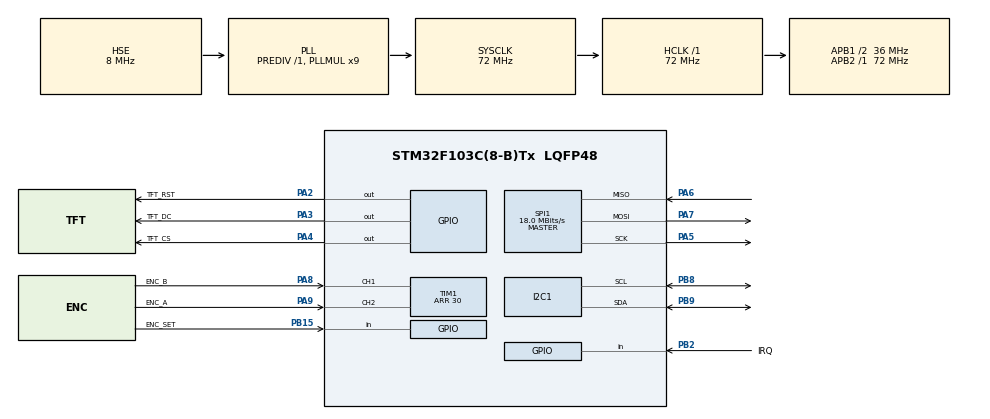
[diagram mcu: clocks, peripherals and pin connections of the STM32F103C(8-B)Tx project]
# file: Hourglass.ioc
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Mcu.Family=STM32F1
Mcu.Name=STM32F103C(8-B)Tx
Mcu.Package=LQFP48
NVIC.PriorityGroup=NVIC_PRIORITYGROUP_4
PA13.Mode=Serial_Wire
PA13.Signal=SYS_JTMS-SWDIO
PA14.Mode=Serial_Wire
PA14.Signal=SYS_JTCK-SWCLK
PA2.GPIO_Label=TFT_RST
PA2.GPIO_Speed=GPIO_SPEED_FREQ_HIGH
PA2.PinState=GPIO_PIN_SET
PA2.Signal=GPIO_Output
PA3.GPIO_Label=TFT_DC
PA3.GPIO_Speed=GPIO_SPEED_FREQ_HIGH
PA3.PinState=GPIO_PIN_SET
PA3.Signal=GPIO_Output
PA4.GPIO_Label=TFT_CS
PA4.GPIO_Speed=GPIO_SPEED_FREQ_HIGH
PA4.PinState=GPIO_PIN_SET
PA4.Signal=GPIO_Output
PA5.Mode=Full_Duplex_Master
PA5.Signal=SPI1_SCK
PA6.Mode=Full_Duplex_Master
PA6.Signal=SPI1_MISO
PA7.Mode=Full_Duplex_Master
PA7.Signal=SPI1_MOSI
PA8.GPIO_Label=ENC_B
PA8.GPIO_PuPd=GPIO_PULLUP
PA8.Signal=S_TIM1_CH1
PA9.GPIO_Label=ENC_A
PA9.GPIO_PuPd=GPIO_PULLUP
PA9.Signal=S_TIM1_CH2
PB15.GPIO_Label=ENC_SET
PB15.GPIO_PuPd=GPIO_PULLUP
PB15.Signal=GPIO_Input
PB2.GPIO_Label=IRQ
PB2.Signal=GPIO_Input
PB8.GPIO_Pu=GPIO_PULLUP
PB8.GPIO_Speed=GPIO_SPEED_FREQ_HIGH
PB8.Mode=I2C
PB8.Signal=I2C1_SCL
PB9.GPIO_Pu=GPIO_PULLUP
PB9.Mode=I2C
PB9.Signal=I2C1_SDA
PD0-OSC_IN.Mode=HSE-External-Oscillator
PD0-OSC_IN.Signal=RCC_OSC_IN
PD1-OSC_OUT.Mode=HSE-External-Oscillator
PD1-OSC_OUT.Signal=RCC_OSC_OUT
ProjectManager.HeapSize=0x400
ProjectManager.StackSize=0x800
ProjectManager.TargetToolchain=STM32CubeIDE
RCC.ADCPresc=RCC_ADCPCLK2_DIV6
RCC.AHBFreq_Value=72000000
RCC.APB1CLKDivider=RCC_HCLK_DIV2
RCC.APB1Freq_Value=36000000
RCC.APB1TimFreq_Value=72000000
RCC.APB2Freq_Value=72000000
RCC.APB2TimFreq_Value=72000000
RCC.HCLKFreq_Value=72000000
RCC.PLLMUL=RCC_PLL_MUL9
RCC.PLLSourceVirtual=RCC_PLLSOURCE_HSE
RCC.SYSCLKFreq_VALUE=72000000
RCC.SYSCLKSource=RCC_SYSCLKSOURCE_PLLCLK
RCC.USBFreq_Value=72000000
SH.S_TIM1_CH1.0=TIM1_CH1,Encoder_Interface
SH.S_TIM1_CH2.0=TIM1_CH2,Encoder_Interface
SPI1.BaudRatePrescaler=SPI_BAUDRATEPRESCALER_4
SPI1.CalculateBaudRate=18.0 MBits/s
SPI1.Direction=SPI_DIRECTION_2LINES
SPI1.Mode=SPI_MODE_MASTER
SPI1.VirtualType=VM_MASTER
TIM1.EncoderMode=TIM_ENCODERMODE_TI12
TIM1.Period=30
board=custom

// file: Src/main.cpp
/* USER CODE BEGIN Header */
/**
  ******************************************************************************
  * @file           : main.c
  * @brief          : Main program body
  ******************************************************************************
  * @attention
  *
  * <h2><center>&copy; Copyright (c) 2020 STMicroelectronics.
  * All rights reserved.</center></h2>
  *
  * This software component is licensed by ST under BSD 3-Clause license,
  * the "License"; You may not use this file except in compliance with the
  * License. You may obtain a copy of the License at:
  *                        opensource.org/licenses/BSD-3-Clause
  *
  ******************************************************************************
  */
/* USER CODE END Header */
#include "main.h"

/* USER CODE BEGIN Includes */
#include <stm32f1xx.h>
#include <ILI9341.h>
#include <loadingAnimation.h>
#include "stdio.h"
#include "Menu.h"
#include "HourglassColorSettings.h"
#include "hourglass.h"
//#include "MadgwickAHRS.h"
/* USER CODE END Includes */

I2C_HandleTypeDef hi2c1;
SPI_HandleTypeDef hspi1;
TIM_HandleTypeDef htim1;

/* USER CODE BEGIN PV */
#include "mpu6050.h"
const float PI=3.14159265358979;
extern float mpu6050_gf[3];
extern float mpu6050_af[3];
uint8_t data[5];
float Yaw_m,Pitch_m,Roll_m;

/* USER CODE END PV */

void SystemClock_Config(void);
static void MX_GPIO_Init(void);
static void MX_SPI1_Init(void);
static void MX_TIM1_Init(void);
static void MX_I2C1_Init(void);

int main(void)
{

  /* MCU Configuration--------------------------------------------------------*/

  /* Reset of all peripherals, Initializes the Flash interface and the Systick. */
  HAL_Init();

  /* Configure the system clock */
  SystemClock_Config();

  /* Initialize all configured peripherals */
  MX_GPIO_Init();
  MX_SPI1_Init();
  MX_TIM1_Init();
  MX_I2C1_Init();

  /* USER CODE BEGIN 2 */
  HAL_TIM_Encoder_Start(&htim1, TIM_CHANNEL_ALL);
  __HAL_SPI_ENABLE(DISP_SPI_PTR);
  DISP_CS_UNSELECT;

  ///--- Инициализация дисплея ---///
  ILI9341_Init(); // инициализация дисплея
  ILI9341_Fill_Screen(BCKGRND_COLOR); // заливка всего экрана цветом (цвета в файле ILI9341.h)

  ///--- Инициализация датчика mpu6050 ---///
  mpu6050_init(); // инициализация mpu6050
  HAL_Delay(100); // обязательно нужна для нормальной инициализации

  ///--- Получение данных с mpu6050 ---///
  mpu6050_getacceldata();

  ///--- Зазгрузочная анимация ---///
  LoadingAnimation loading_animation = LoadingAnimation(mpu6050_af[0]);
  loading_animation.animation();

  ///--- Инициализация меню ---///
  Menu menu = Menu(mpu6050_af[0]); // аргумент для отрисовки часов с учетом данных mpu6050

  /* USER CODE END 2 */

  /* Infinite loop */
  /* USER CODE BEGIN WHILE */
while (1)
{
	mpu6050_getacceldata();
	uint32_t ms = HAL_GetTick();
	// Установка кнопки
	uint8_t Set_state = HAL_GPIO_ReadPin(ENC_SET_GPIO_Port, ENC_SET_Pin); // Читаем состояние нужного пина
	int32_t currCounter = __HAL_TIM_GET_COUNTER(&htim1)/2;
	menu.processing(Set_state, ms,  mpu6050_af[0],  mpu6050_af[1], currCounter);
}
	/* USER CODE END WHILE */

}

void SystemClock_Config(void)
{
  RCC_OscInitTypeDef RCC_OscInitStruct = {0};
  RCC_ClkInitTypeDef RCC_ClkInitStruct = {0};

  /** Initializes the RCC Oscillators according to the specified parameters
  * in the RCC_OscInitTypeDef structure.
  */
  RCC_OscInitStruct.OscillatorType = RCC_OSCILLATORTYPE_HSE;
  RCC_OscInitStruct.HSEState = RCC_HSE_ON;
  RCC_OscInitStruct.HSEPredivValue = RCC_HSE_PREDIV_DIV1;
  RCC_OscInitStruct.HSIState = RCC_HSI_ON;
  RCC_OscInitStruct.PLL.PLLState = RCC_PLL_ON;
  RCC_OscInitStruct.PLL.PLLSource = RCC_PLLSOURCE_HSE;
  RCC_OscInitStruct.PLL.PLLMUL = RCC_PLL_MUL9;
  if (HAL_RCC_OscConfig(&RCC_OscInitStruct) != HAL_OK)
  {
    Error_Handler();
  }

  /** Initializes the CPU, AHB and APB buses clocks
  */
  RCC_ClkInitStruct.ClockType = RCC_CLOCKTYPE_HCLK|RCC_CLOCKTYPE_SYSCLK
                              |RCC_CLOCKTYPE_PCLK1|RCC_CLOCKTYPE_PCLK2;
  RCC_ClkInitStruct.SYSCLKSource = RCC_SYSCLKSOURCE_PLLCLK;
  RCC_ClkInitStruct.AHBCLKDivider = RCC_SYSCLK_DIV1;
  RCC_ClkInitStruct.APB1CLKDivider = RCC_HCLK_DIV2;
  RCC_ClkInitStruct.APB2CLKDivider = RCC_HCLK_DIV1;

  if (HAL_RCC_ClockConfig(&RCC_ClkInitStruct, FLASH_LATENCY_2) != HAL_OK)
  {
    Error_Handler();
  }
}

static void MX_I2C1_Init(void)
{

  hi2c1.Instance = I2C1;
  hi2c1.Init.ClockSpeed = 100000;
  hi2c1.Init.DutyCycle = I2C_DUTYCYCLE_2;
  hi2c1.Init.OwnAddress1 = 0;
  hi2c1.Init.AddressingMode = I2C_ADDRESSINGMODE_7BIT;
  hi2c1.Init.DualAddressMode = I2C_DUALADDRESS_DISABLE;
  hi2c1.Init.OwnAddress2 = 0;
  hi2c1.Init.GeneralCallMode = I2C_GENERALCALL_DISABLE;
  hi2c1.Init.NoStretchMode = I2C_NOSTRETCH_DISABLE;
  if (HAL_I2C_Init(&hi2c1) != HAL_OK)
  {
    Error_Handler();
  }

}

static void MX_SPI1_Init(void)
{

  /* SPI1 parameter configuration*/
  hspi1.Instance = SPI1;
  hspi1.Init.Mode = SPI_MODE_MASTER;
  hspi1.Init.Direction = SPI_DIRECTION_2LINES;
  hspi1.Init.DataSize = SPI_DATASIZE_8BIT;
  hspi1.Init.CLKPolarity = SPI_POLARITY_LOW;
  hspi1.Init.CLKPhase = SPI_PHASE_1EDGE;
  hspi1.Init.NSS = SPI_NSS_SOFT;
  hspi1.Init.BaudRatePrescaler = SPI_BAUDRATEPRESCALER_4;
  hspi1.Init.FirstBit = SPI_FIRSTBIT_MSB;
  hspi1.Init.TIMode = SPI_TIMODE_DISABLE;
  hspi1.Init.CRCCalculation = SPI_CRCCALCULATION_DISABLE;
  hspi1.Init.CRCPolynomial = 10;
  if (HAL_SPI_Init(&hspi1) != HAL_OK)
  {
    Error_Handler();
  }

}

static void MX_TIM1_Init(void)
{

  TIM_Encoder_InitTypeDef sConfig = {0};
  TIM_MasterConfigTypeDef sMasterConfig = {0};

  htim1.Instance = TIM1;
  htim1.Init.Prescaler = 0;
  htim1.Init.CounterMode = TIM_COUNTERMODE_UP;
  htim1.Init.Period = 30;
  htim1.Init.ClockDivision = TIM_CLOCKDIVISION_DIV1;
  htim1.Init.RepetitionCounter = 0;
  htim1.Init.AutoReloadPreload = TIM_AUTORELOAD_PRELOAD_DISABLE;
  sConfig.EncoderMode = TIM_ENCODERMODE_TI12;
  sConfig.IC1Polarity = TIM_ICPOLARITY_RISING;
  sConfig.IC1Selection = TIM_ICSELECTION_DIRECTTI;
  sConfig.IC1Prescaler = TIM_ICPSC_DIV1;
  sConfig.IC1Filter = 0;
  sConfig.IC2Polarity = TIM_ICPOLARITY_RISING;
  sConfig.IC2Selection = TIM_ICSELECTION_DIRECTTI;
  sConfig.IC2Prescaler = TIM_ICPSC_DIV1;
  sConfig.IC2Filter = 0;
  if (HAL_TIM_Encoder_Init(&htim1, &sConfig) != HAL_OK)
  {
    Error_Handler();
  }
  sMasterConfig.MasterOutputTrigger = TIM_TRGO_RESET;
  sMasterConfig.MasterSlaveMode = TIM_MASTERSLAVEMODE_DISABLE;
  if (HAL_TIMEx_MasterConfigSynchronization(&htim1, &sMasterConfig) != HAL_OK)
  {
    Error_Handler();
  }

}

static void MX_GPIO_Init(void)
{
  GPIO_InitTypeDef GPIO_InitStruct = {0};

  /* GPIO Ports Clock Enable */
  __HAL_RCC_GPIOD_CLK_ENABLE();
  __HAL_RCC_GPIOA_CLK_ENABLE();
  __HAL_RCC_GPIOB_CLK_ENABLE();

  /*Configure GPIO pin Output Level */
  HAL_GPIO_WritePin(GPIOA, TFT_RST_Pin|TFT_DC_Pin|TFT_CS_Pin, GPIO_PIN_SET);

  /*Configure GPIO pins : TFT_RST_Pin TFT_DC_Pin TFT_CS_Pin */
  GPIO_InitStruct.Pin = TFT_RST_Pin|TFT_DC_Pin|TFT_CS_Pin;
  GPIO_InitStruct.Mode = GPIO_MODE_OUTPUT_PP;
  GPIO_InitStruct.Pull = GPIO_NOPULL;
  GPIO_InitStruct.Speed = GPIO_SPEED_FREQ_HIGH;
  HAL_GPIO_Init(GPIOA, &GPIO_InitStruct);

  /*Configure GPIO pin : IRQ_Pin */
  GPIO_InitStruct.Pin = IRQ_Pin;
  GPIO_InitStruct.Mode = GPIO_MODE_INPUT;
  GPIO_InitStruct.Pull = GPIO_NOPULL;
  HAL_GPIO_Init(IRQ_GPIO_Port, &GPIO_InitStruct);

  /*Configure GPIO pin : ENC_SET_Pin */
  GPIO_InitStruct.Pin = ENC_SET_Pin;
  GPIO_InitStruct.Mode = GPIO_MODE_INPUT;
  GPIO_InitStruct.Pull = GPIO_PULLUP;
  HAL_GPIO_Init(ENC_SET_GPIO_Port, &GPIO_InitStruct);

}

void Error_Handler(void)
{
}
